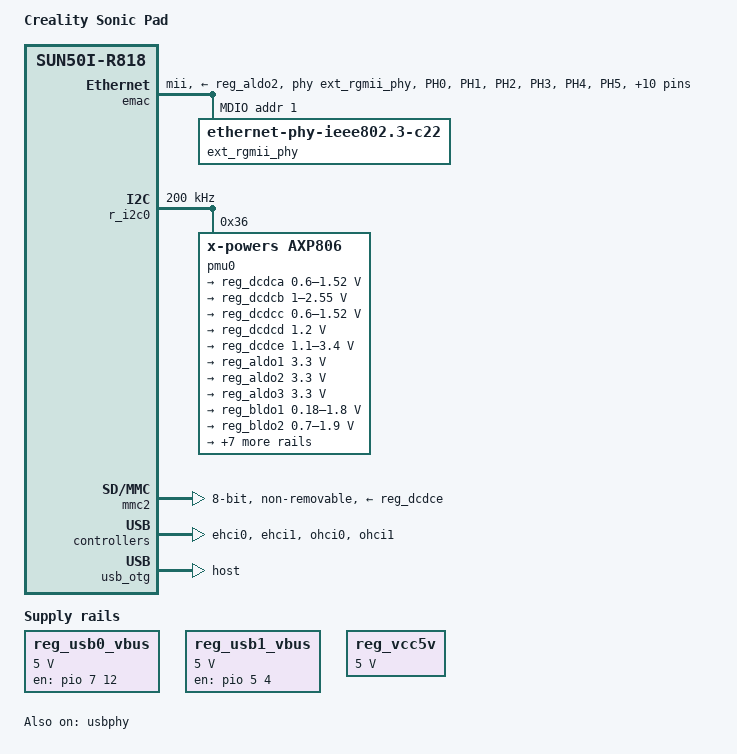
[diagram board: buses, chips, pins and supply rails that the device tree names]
// SPDX-License-Identifier: (GPL-2.0+ OR MIT)
/*
 * Copyright (c) 2020 Yangtao Li <frank@allwinnertech.com>
 */

/dts-v1/;

#include "sun50i-a100.dtsi"
#include "sun50i-a100-cpu-opp.dtsi"

#include <dt-bindings/gpio/gpio.h>

/{
	model = "Creality Sonic Pad";
	compatible = "creality,sonic-lcd", "allwinner,sun50i-r818";
	chassis-type = "tablet";

	aliases {
		serial0 = &uart0;
	};

	chosen {
		stdout-path = "serial0: 115200n8";
	};

	reg_usb0_vbus: usb0-vbus {
		compatible = "regulator-fixed";
		gpio = <&pio 7 12 GPIO_ACTIVE_HIGH>; /* PH12 */
		regulator-name = "usb0-vbus";
		regulator-min-microvolt = <5000000>;
		regulator-max-microvolt = <5000000>;
		enable-active-high;
	};

	reg_usb1_vbus: usb1-vbus {
		compatible = "regulator-fixed";
		gpio = <&pio 5 4 GPIO_ACTIVE_HIGH>; /* PF4 */
		regulator-name = "usb1-vbus";
		regulator-min-microvolt = <5000000>;
		regulator-max-microvolt = <5000000>;
		enable-active-high;
	};

	reg_vcc5v: vcc5v {
		compatible = "regulator-fixed";
		regulator-name = "vcc-5V";
		regulator-min-microvolt = <5000000>;
		regulator-max-microvolt = <5000000>;
		regulator-always-on;
	};

	soc {
		syscon: syscon@3000000 {
			#address-cells = <1>;
			#size-cells = <1>;
			compatible = "allwinner,sun50i-h616-system-control";
			reg = <0x03000000 0x1000>;
			ranges;

			sram_c: sram@28000 {
				#address-cells = <1>;
				#size-cells = <1>;
				compatible = "mmio-sram";
				reg = <0x00028000 0x30000>;
				ranges = <0 0x00028000 0x30000>;
			};
		};

		emac: ethernet@5020000 {
			#address-cells = <1>;
			#size-cells = <1>;

			compatible = "allwinner,sun50i-h616-emac0",
			             "allwinner,sun50i-a64-emac";
			reg = <0x05020000 0x10000>;
			interrupts = <GIC_SPI 14 IRQ_TYPE_LEVEL_HIGH>;
			interrupt-names = "macirq";
			clocks = <&ccu CLK_BUS_EMAC>;
			clock-names = "stmmaceth";
			resets = <&ccu RST_BUS_EMAC>;
			reset-names = "stmmaceth";
			status = "okay";
			syscon = <&syscon>;

			pinctrl-names = "default";
			pinctrl-0 = <&ext_rgmii_pins>;
			phy-handle = <&ext_rgmii_phy>;
			phy-supply = <&reg_aldo2>;
			phy-mode = "mii";

			mdio0: mdio {
				compatible = "snps,dwmac-mdio";
				#address-cells = <1>;
				#size-cells = <0>;

				ext_rgmii_phy: ethernet-phy@1 {
					compatible = "ethernet-phy-ieee802.3-c22";
					reg = <1>;
				};
			};
		};
	};
};

&pio {
	ext_rgmii_pins: rgmii-pins {
		pins = "PH0",
		       "PH1",
		       "PH2",
		       "PH3",
		       "PH4",
		       "PH5",
		       "PH6",
		       "PH7",
		       "PH9",
		       "PH10",
		       "PH13",
		       "PH14",
		       "PH15",
		       "PH16",
		       "PH17",
		       "PH18";
		function = "emac0";
		drive-strength = <30>;
	};

	usb_vbus0_pin: usb-vbus0-pin {
		pins = "PH12";
		function = "gpio_out";
		drive-strength = <30>;
		bias-disable;
		output-low;
	};

	usb_vbus1_pin: usb-vbus1-pin {
		pins = "PF4";
		function = "gpio_out";
		drive-strength = <30>;
		bias-disable;
		output-low;
	};

};

&r_i2c0 {
	status = "okay";
	clock-frequency = <200000>;

	pmu0: pmu@36 {
		compatible = "x-powers,axp806";
		interrupt-parent = <&r_intc>;
		interrupt-controller;
		#interrupt-cells = <1>;
		reg = <0x36>;

		x-powers,self-working-mode;

		regulators {
			reg_dcdca: dcdca {
				regulator-always-on;
				regulator-name = "dcdca";
				regulator-min-microvolt = <600000>;
				regulator-max-microvolt = <1520000>;
			};

			reg_dcdcb: dcdcb {
				regulator-always-on;
				regulator-name = "dcdcb";
				regulator-min-microvolt = <1000000>;
				regulator-max-microvolt = <2550000>;
			};

			reg_dcdcc: dcdcc {
				regulator-always-on;
				regulator-name = "dcdcc";
				regulator-min-microvolt = <600000>;
				regulator-max-microvolt = <1520000>;
			};

			reg_dcdcd: dcdcd {
				regulator-always-on;
				regulator-name = "vcc-dram-1";
				regulator-min-microvolt = <1200000>;
				regulator-max-microvolt = <1200000>;
			};

			reg_dcdce: dcdce {
				regulator-min-microvolt = <1100000>;
				regulator-max-microvolt = <3400000>;
			};

			reg_aldo1: aldo1 {
				regulator-always-on;
				regulator-name = "aldo2";
				regulator-min-microvolt = <3300000>;
				regulator-max-microvolt = <3300000>;
			};

			reg_aldo2: aldo2 {
				regulator-always-on;
				regulator-name = "emac-supply";
				regulator-min-microvolt = <3300000>;
				regulator-max-microvolt = <3300000>;
			};

			reg_aldo3: aldo3 {
				regulator-always-on;
				regulator-name = "aldo3";
				regulator-min-microvolt = <3300000>;
				regulator-max-microvolt = <3300000>;
			};

			reg_bldo1: bldo1 {
				regulator-always-on;
				regulator-name = "bldo1";
				regulator-min-microvolt = <180000>;
				regulator-max-microvolt = <1800000>;
			};

			reg_bldo2: bldo2 {
				regulator-always-on;
				regulator-name = "bldo2";
				regulator-min-microvolt = <700000>;
				regulator-max-microvolt = <1900000>;
			};

			reg_bldo3: bldo3 {
				regulator-name = "bldo3";
				regulator-min-microvolt = <700000>;
				regulator-max-microvolt = <1900000>;
				regulator-always-on;
			};

			reg_bldo4: bldo4 {
				regulator-always-on;
				regulator-name = "bldo4";
				regulator-min-microvolt = <700000>;
				regulator-max-microvolt = <1900000>;
			};

			reg_cldo1: cldo1 {
				regulator-always-on;
				regulator-name = "cldo1";
				regulator-min-microvolt = <700000>;
				regulator-max-microvolt = <3300000>;
			};
			reg_cldo2: cldo2 {
				regulator-always-on;
				regulator-name = "cldo2";
				regulator-min-microvolt = <700000>;
				regulator-max-microvolt = <4200000>;
			};

			reg_cldo3: cldo3 {
				regulator-always-on;
				regulator-name = "cldo3";
				regulator-min-microvolt = <700000>;
				regulator-max-microvolt = <3300000>;
			};

			reg_sw: sw {
				regulator-always-on;
				regulator-name = "sw";
			};

			reg_drivevbus: drivevbus {
				regulator-always-on;
				regulator-name = "drivevbus";
				status = "okay";
			};
		};
	};
};

&cpu0 {
	cpu-supply = <&reg_dcdca>;
};


&mmc2 {
	non-removable;
	bus-width = <8>;
	mmc-ddr-1_8v;
	mmc-hs200-1_8v;
	mmc-hs400-1_8v;
	no-sdio;
	no-sd;
	cap-mmc-highspeed;
	keep-power-in-suspend;
	max-frequency = <200000000>;
	vmmc-supply = <&reg_dcdce>;
	vqmmc-supply = <&reg_dcdce>;
	status = "okay";
};

&usbphy {

	usb0_vbus-supply = <&reg_usb0_vbus>;
	usb1_vbus-supply = <&reg_usb1_vbus>;
	status = "okay";
};



&ehci0 {
	status = "okay";
};

&ehci1 {
	status = "okay";
};

&ohci0 {
	status = "okay";
};

&ohci1 {
	status = "okay";
};

&usb_otg {
	dr_mode = "host";
	status = "okay";
};
